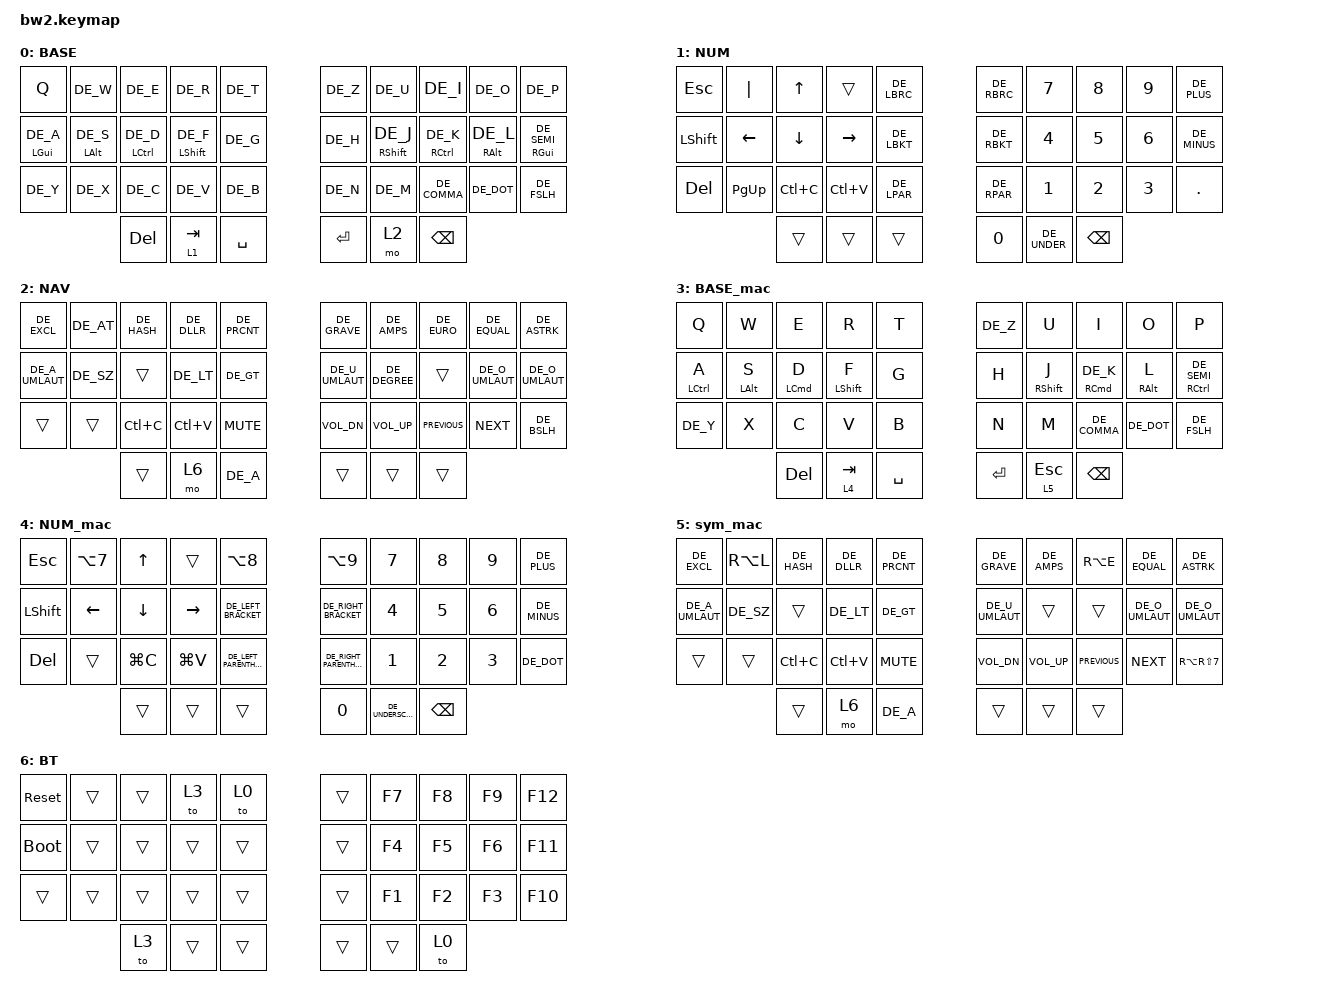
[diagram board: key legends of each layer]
/*
 * Copyright (c) 2022 The ZMK Contributors
 *
 * SPDX-License-Identifier: MIT
 *
 * Belegung übertragen von der Totem-Keymap.
 * Die Totem hat pro Hälfte eine zusätzliche Taste (SW16), die auf der
 * Bad Wings V2 nicht existiert -> diese Positionen (20 und 31 im
 * ursprünglichen 38-Tasten-Layout) wurden entfernt, alle anderen
 * Positionen entsprechend nachgerückt. Alle Combos referenzieren die
 * bereits angepassten (neuen) Positionen.
 */

#include "keys_de.h"
#include <behaviors.dtsi>
#include <dt-bindings/zmk/bt.h>
#include <dt-bindings/zmk/keys.h>
#include <dt-bindings/zmk/outputs.h>

#define BASE 0
#define NUM  1
#define NAV  2
#define BT   3

&mt {
    quick-tap-ms = <100>;
    global-quick-tap;
    flavor = "tap-preferred";
    tapping-term-ms = <170>;
};

/ {
    combos {
        compatible = "zmk,combos";

        combo_boot {
            key-positions = <0 4>;
            bindings = <&bootloader>;
        };

        combo_esc {
            timeout-ms = <50>;
            key-positions = <0 1>;
            bindings = <&kp ESC>;
            slow-release;
        };

        combo_caps {
            timeout-ms = <50>;
            key-positions = <15 19>;
            bindings = <&caps_word>;
        };

        combo_singlequote {
            timeout-ms = <75>;
            key-positions = <7 8>;
            bindings = <&kp DE_SQT>;
        };

        combo_doublequote {
            timeout-ms = <75>;
            key-positions = <8 9>;
            bindings = <&kp DE_DQT>;
        };

        combo_minus {
            timeout-ms = <50>;
            key-positions = <17 18>;
            bindings = <&kp DE_MINUS>;
            slow-release;
        };

        combo_plus {
            timeout-ms = <50>;
            key-positions = <16 17>;
            bindings = <&kp DE_PLUS>;
            slow-release;
        };

        combo_equal {
            timeout-ms = <50>;
            key-positions = <26 27>;
            bindings = <&kp DE_EQUAL>;
            slow-release;
        };

        combo_underscore {
            timeout-ms = <50>;
            key-positions = <16 17 18>;
            bindings = <&kp DE_UNDER>;
        };

        combo_worddelete {
            timeout-ms = <50>;
            key-positions = <18 19>;
            bindings = <&kp LC(BSPC)>;
        };

        combo_questionmark {
            timeout-ms = <50>;
            key-positions = <27 28>;
            bindings = <&kp DE_QMARK>;
        };

        combo_worddelete_mac {
            bindings = <&kp RA(BACKSPACE)>;
            key-positions = <18 19>;
            layers = <3>;
        };

        combo_enter {
            bindings = <&kp ENTER>;
            key-positions = <16 18>;
        };
    };

    behaviors {
        hl: homerow_mods_left {
            compatible = "zmk,behavior-hold-tap";
            label = "homerow mods left";
            #binding-cells = <2>;
            require-prior-idle-ms = <100>;
            flavor = "balanced";
            tapping-term-ms = <155>;

            bindings = <&kp>, <&kp>;

            // opposite side hand keys
            hold-trigger-key-positions = <5 6 7 8 9 15 16 17 18 19 24 25 26 27 28 29 30 31 32 33>;
        };

        hr: homerow_mods_right {
            compatible = "zmk,behavior-hold-tap";
            label = "homerow mods right";
            #binding-cells = <2>;
            require-prior-idle-ms = <100>;
            flavor = "balanced";
            tapping-term-ms = <155>;

            bindings = <&kp>, <&kp>;

            // opposite side hand keys
            hold-trigger-key-positions = <0 1 2 3 4 10 11 12 13 14 20 21 22 23 24 29 30 31 32 33>;
        };
    };

    keymap {
        compatible = "zmk,keymap";

        base_layer {
            label = "BASE";

            bindings = <
            &kp Q          &kp DE_W       &kp DE_E        &kp DE_R        &kp DE_T     &kp DE_Z   &kp DE_U        &kp DE_I        &kp DE_O       &kp DE_P
            &hl LGUI DE_A  &hl LALT DE_S  &hl LCTRL DE_D  &hl LSHFT DE_F  &kp DE_G     &kp DE_H   &hr RSHFT DE_J  &hr RCTRL DE_K  &hr RALT DE_L  &hr RGUI DE_SEMI
            &kp DE_Y       &kp DE_X       &kp DE_C        &kp DE_V        &kp DE_B     &kp DE_N   &kp DE_M        &kp DE_COMMA    &kp DE_DOT     &kp DE_FSLH
                                          &kp DEL         &lt 1 TAB       &kp SPACE    &kp ENTER  &mo 2     &kp BACKSPACE
            >;
        };

        NUM_layer {
            label = "NUM";

            bindings = <
                 &kp ESC    &kp PIPE   &kp UP     &trans     &kp DE_LBRC    &kp DE_RBRC  &kp N7        &kp N8    &kp N9  &kp DE_PLUS
                 &kp LSHFT  &kp LEFT   &kp DOWN   &kp RIGHT  &kp DE_LBKT    &kp DE_RBKT  &kp N4        &kp N5    &kp N6  &kp DE_MINUS
                 &kp DEL    &kp PG_UP  &kp LC(C)  &kp LC(V)  &kp DE_LPAR    &kp DE_RPAR  &kp N1        &kp N2    &kp N3  &kp DOT
                                       &trans     &trans     &trans         &kp N0       &kp DE_UNDER  &kp BSPC
            >;
        };

        nav_layer {
            label = "NAV";

            bindings = <
        &kp DE_EXCL      &kp DE_AT  &kp DE_HASH  &kp DE_DLLR  &kp DE_PRCNT    &kp DE_GRAVE     &kp DE_AMPS    &kp DE_EURO     &kp DE_EQUAL     &kp DE_ASTRK
        &kp DE_A_UMLAUT  &kp DE_SZ  &trans       &kp DE_LT    &kp DE_GT       &kp DE_U_UMLAUT  &kp DE_DEGREE  &trans          &kp DE_O_UMLAUT  &kp DE_O_UMLAUT
        &trans           &trans     &kp LC(C)    &kp LC(V)    &kp C_MUTE      &kp C_VOL_DN     &kp C_VOL_UP   &kp C_PREVIOUS  &kp C_NEXT       &kp DE_BSLH
                                    &trans       &mo 6        &kp DE_A        &trans           &trans         &trans
            >;
        };

        BASE_mac {
            bindings = <
                 &kp Q               &kp W           &kp E               &kp R             &kp T        &kp DE_Z   &kp U              &kp I                   &kp O            &kp P
                 &hl LEFT_CONTROL A  &hl LEFT_ALT S  &hl LEFT_COMMAND D  &hl LEFT_SHIFT F  &kp G        &kp H      &hr RIGHT_SHIFT J  &hr RIGHT_COMMAND DE_K  &hr RIGHT_ALT L  &hr RIGHT_CONTROL DE_SEMI
                 &kp DE_Y            &kp X           &kp C               &kp V             &kp B        &kp N      &kp M              &kp DE_COMMA            &kp DE_DOT       &kp DE_FSLH
                                                     &kp DELETE          &lt 4 TAB         &kp SPACE    &kp ENTER  &lt 5 ESC          &kp BSPC
            >;
        };

        NUM_mac {
            bindings = <
                 &kp ESCAPE      &kp LA(N7)      &kp UP          &trans           &kp LA(NUMBER_8)           &kp LA(N9)                &kp NUMBER_7       &kp N8         &kp N9        &kp DE_PLUS
                 &kp LEFT_SHIFT  &kp LEFT_ARROW  &kp DOWN_ARROW  &kp RIGHT_ARROW  &kp DE_LEFT_BRACKET        &kp DE_RIGHT_BRACKET      &kp NUMBER_4       &kp NUMBER_5   &kp NUMBER_6  &kp DE_MINUS
                 &kp DELETE      &trans          &kp LG(C)       &kp LG(V)        &kp DE_LEFT_PARENTHESIS    &kp DE_RIGHT_PARENTHESIS  &kp NUMBER_1       &kp N2         &kp NUMBER_3  &kp DE_DOT
                                                 &trans          &trans           &trans                     &kp NUMBER_0              &kp DE_UNDERSCORE  &kp BACKSPACE
            >;
        };

        SYM_mac {
            label = "sym_mac";
            bindings = <
        &kp DE_EXCL      &kp RA(L)  &kp DE_HASH  &kp DE_DLLR  &kp DE_PRCNT    &kp DE_GRAVE     &kp DE_AMPS   &kp RA(E)       &kp DE_EQUAL     &kp DE_ASTRK
        &kp DE_A_UMLAUT  &kp DE_SZ  &trans       &kp DE_LT    &kp DE_GT       &kp DE_U_UMLAUT  &trans        &trans          &kp DE_O_UMLAUT  &kp DE_O_UMLAUT
        &trans           &trans     &kp LC(C)    &kp LC(V)    &kp C_MUTE      &kp C_VOL_DN     &kp C_VOL_UP  &kp C_PREVIOUS  &kp C_NEXT       &kp RA(RS(N7))
                                    &trans       &mo 6        &kp DE_A        &trans           &trans        &trans
            >;
        };

        BT_layer {
            label = "BT";

            bindings = <
       &sys_reset   &trans  &trans   &to 3   &to 0         &trans  &kp F7  &kp F8  &kp F9  &kp F12
       &bootloader  &trans  &trans   &trans  &trans        &trans  &kp F4  &kp F5  &kp F6  &kp F11
       &trans       &trans  &trans   &trans  &trans        &trans  &kp F1  &kp F2  &kp F3  &kp F10
                                &to 3        &trans        &trans          &trans  &trans  &to 0
            >;
        };
    };
};
